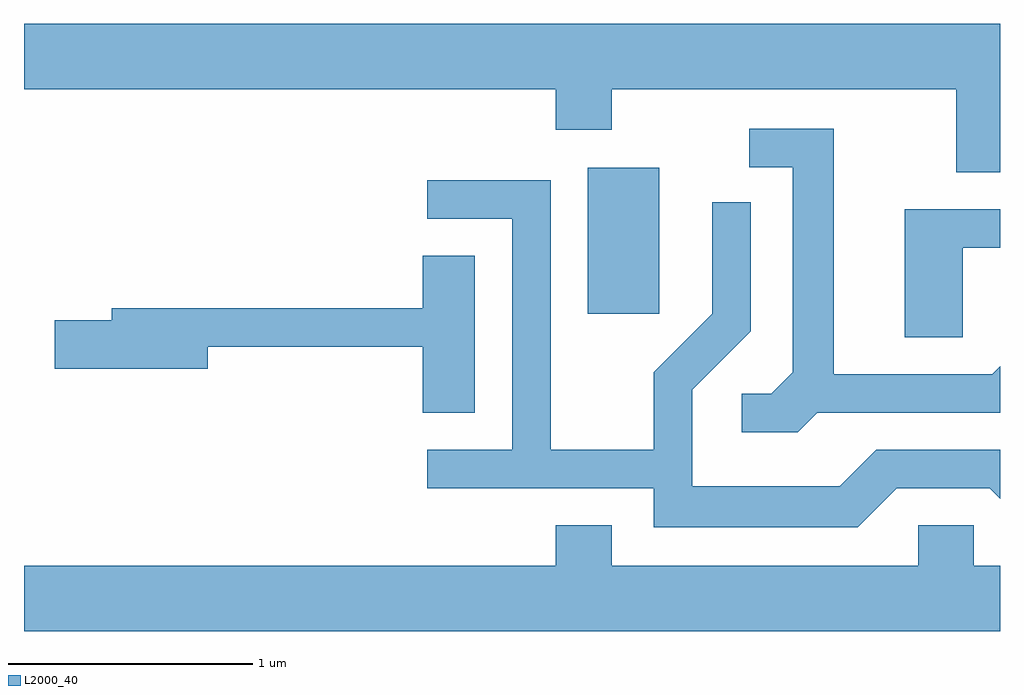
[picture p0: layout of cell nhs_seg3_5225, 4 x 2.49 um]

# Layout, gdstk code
import gdstk
lib = gdstk.Library(unit=1e-6, precision=1e-09)
def R(c, l, rs):  # rectangles x0, y0, x1, y1
    for r in rs: c.add(gdstk.rectangle(r[:2], r[2:], *l))
def P(c, l, *ps):  # polygons
    for p in ps: c.add(gdstk.Polygon(p, *l))
L2000_40 = (2000, 40)

nhs_seg3_5225 = lib.new_cell('nhs_seg3_5225')
R(nhs_seg3_5225, L2000_40, [(339.921,1240.536,340.214,1241.134)])
P(nhs_seg3_5225, L2000_40, [(341.611,1241.724),(337.611,1241.724),(337.611,1241.456),(339.791,1241.456),(339.791,1241.291),(340.019,1241.291),(340.019,1241.456),(341.431,1241.456),(341.431,1241.116),(341.611,1241.116)],
  [(340.862,1240.131),(341.611,1240.131),(341.611,1240.321),(341.579,1240.289),(340.929,1240.289),(340.929,1241.294),(340.583,1241.294),(340.583,1241.136),(340.761,1241.136),(340.761,1240.297),(340.674,1240.209),(340.553,1240.209),(340.553,1240.051),(340.782,1240.051)],
  [(341.187,1239.821),(341.569,1239.821),(341.611,1239.779),(341.611,1239.979),(341.104,1239.979),(340.954,1239.829),(340.349,1239.829),(340.349,1240.224),(340.589,1240.464),(340.589,1240.993),(340.431,1240.993),(340.431,1240.537),(340.191,1240.297),(340.191,1239.979),(339.769,1239.979),(339.769,1241.084),(339.263,1241.084),(339.263,1240.926),(339.611,1240.926),(339.611,1239.979),(339.263,1239.979),(339.263,1239.821),(340.191,1239.821),(340.191,1239.661),(341.027,1239.661)],
  [(341.459,1240.806),(341.611,1240.806),(341.611,1240.964),(341.221,1240.964),(341.221,1240.441),(341.459,1240.441)],
  [(339.459,1240.774),(339.246,1240.774),(339.246,1240.559),(337.971,1240.559),(337.971,1240.509),(337.736,1240.509),(337.736,1240.311),(338.364,1240.311),(338.364,1240.401),(339.246,1240.401),(339.246,1240.131),(339.459,1240.131)],
  [(339.791,1239.669),(339.791,1239.504),(337.611,1239.504),(337.611,1239.236),(341.611,1239.236),(341.611,1239.504),(341.504,1239.504),(341.504,1239.669),(341.276,1239.669),(341.276,1239.504),(340.019,1239.504),(340.019,1239.669)])

lib.write_gds('nhs_seg3_5225.gds')
